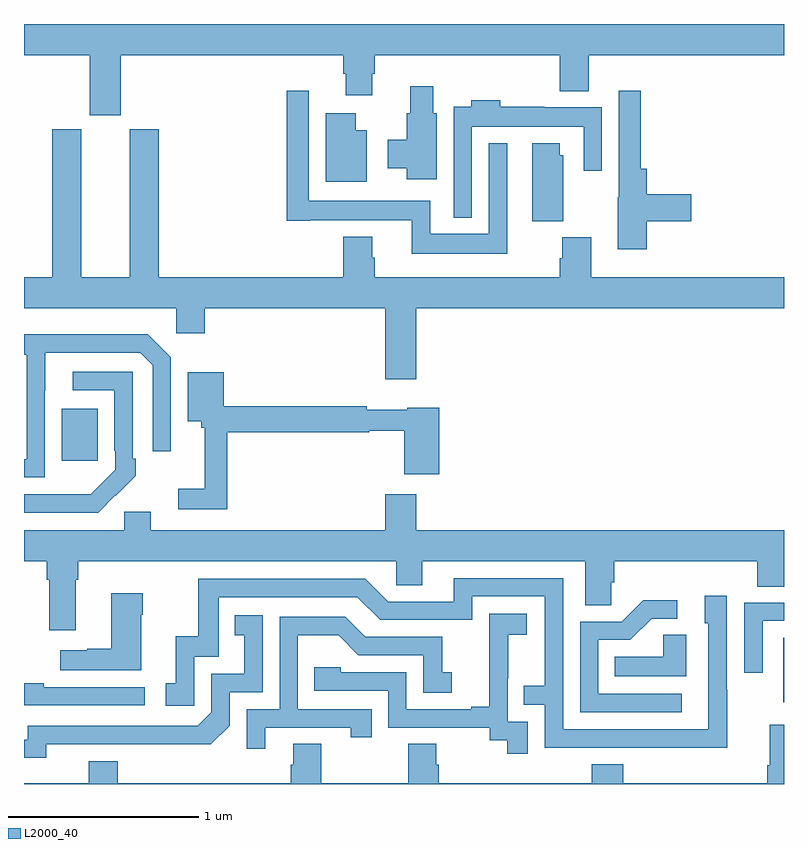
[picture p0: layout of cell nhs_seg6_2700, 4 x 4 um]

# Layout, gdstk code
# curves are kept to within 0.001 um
import gdstk
lib = gdstk.Library(unit=1e-6, precision=1e-09)
def R(c, l, rs):  # rectangles x0, y0, x1, y1
    for r in rs: c.add(gdstk.rectangle(r[:2], r[2:], *l))
def P(c, l, *ps):  # polygons
    for p in ps: c.add(gdstk.Polygon(p, *l))
L2000_40 = (2000, 40)

nhs_seg6_2700 = lib.new_cell('nhs_seg6_2700')
R(nhs_seg6_2700, L2000_40, [(274.997,943.929,275,944.269), (271.199,945.201,271.387,945.475)])
P(nhs_seg6_2700, L2000_40, [(271.51,947.336),(272.681,947.336),(272.681,947.238),(272.693,947.238),(272.693,947.124),(272.833,947.124),(272.833,947.238),(272.846,947.238),(272.846,947.336),(273.821,947.336),(273.821,947.147),(273.973,947.147),(273.973,947.336),(275,947.336),(275,947.5),(271,947.5),(271,947.336),(271.346,947.336),(271.346,947.019),(271.51,947.019)],
  [(273.172,947.031),(273.154,947.031),(273.154,947.173),(273.032,947.173),(273.032,947.031),(273.014,947.031),(273.014,946.89),(272.915,946.89),(272.915,946.742),(273.014,946.742),(273.014,946.683),(273.172,946.683)],
  [(273.544,946.873),(273.447,946.873),(273.447,946.396),(273.138,946.396),(273.138,946.57),(272.499,946.57),(272.499,947.149),(272.383,947.149),(272.383,946.464),(272.506,946.464),(272.506,946.466),(273.041,946.466),(273.041,946.292),(273.544,946.292)],
  [(274.277,946.462),(274.513,946.462),(274.513,946.604),(274.277,946.604),(274.277,946.738),(274.247,946.738),(274.247,947.149),(274.131,947.149),(274.131,946.587),(274.124,946.587),(274.124,946.314),(274.277,946.314)],
  [(273.357,946.958),(273.945,946.958),(273.945,946.728),(274.041,946.728),(274.041,947.062),(273.737,947.062),(273.737,947.065),(273.506,947.065),(273.506,947.098),(273.353,947.098),(273.353,947.065),(273.261,947.065),(273.261,946.481),(273.357,946.481)],
  [(272.803,946.942),(272.746,946.942),(272.746,947.029),(272.588,947.029),(272.588,946.67),(272.803,946.67)],
  [(273.064,946.004),(275,946.004),(275,946.168),(273.986,946.168),(273.986,946.377),(273.833,946.377),(273.833,946.268),(273.821,946.268),(273.821,946.168),(272.846,946.168),(272.846,946.269),(272.833,946.269),(272.833,946.381),(272.681,946.381),(272.681,946.168),(271.709,946.168),(271.709,946.947),(271.556,946.947),(271.556,946.168),(271.3,946.168),(271.3,946.947),(271.148,946.947),(271.148,946.168),(271,946.168),(271,946.004),(271.8,946.004),(271.8,945.873),(271.952,945.873),(271.952,946.004),(272.9,946.004),(272.9,945.63),(273.064,945.63)],
  [(273.838,946.809),(273.82,946.809),(273.82,946.873),(273.674,946.873),(273.674,946.462),(273.838,946.462)],
  [(271.11,945.571),(271.111,945.771),(271.611,945.771),(271.677,945.705),(271.677,945.252),(271.773,945.252),(271.773,945.747),(271.652,945.868),(271,945.868),(271,945.758),(271.014,945.758),(271.014,945.21),(271,945.21),(271,945.114),(271.11,945.114)],
  [(271.481,945.019),(271.482,945.018),(271.587,945.123),(271.587,945.211),(271.572,945.211),(271.572,945.669),(271.257,945.669),(271.257,945.573),(271.476,945.573),(271.476,945.253),(271.479,945.253),(271.479,945.153),(271.351,945.025),(271,945.024),(271,944.928),(271.39,944.928)],
  [(272.069,945.352),(272.818,945.352),(272.818,945.36),(273.002,945.36),(273.002,945.129),(273.185,945.129),(273.185,945.481),(273.018,945.481),(273.018,945.469),(272.804,945.469),(272.804,945.488),(272.05,945.488),(272.05,945.667),(271.862,945.667),(271.862,945.41),(271.934,945.41),(271.934,945.375),(271.952,945.375),(271.952,945.055),(271.812,945.055),(271.812,944.946),(272.069,944.946)],
  [(271.273,944.576),(271.286,944.576),(271.286,944.672),(272.958,944.672),(272.958,944.545),(273.097,944.545),(273.097,944.672),(273.953,944.672),(273.953,944.44),(274.092,944.44),(274.092,944.563),(274.106,944.563),(274.106,944.672),(274.859,944.672),(274.859,944.539),(275,944.539),(275,944.836),(273.064,944.836),(273.064,945.025),(272.9,945.025),(272.9,944.836),(271.666,944.836),(271.666,944.934),(271.527,944.934),(271.527,944.836),(271,944.836),(271,944.672),(271.121,944.672),(271.121,944.576),(271.133,944.576),(271.133,944.31),(271.273,944.31)],
  [(274.701,943.997),(274.698,943.997),(274.698,944.491),(274.583,944.491),(274.583,944.346),(274.602,944.346),(274.602,943.788),(273.837,943.788),(273.837,944.583),(273.263,944.583),(273.263,944.46),(272.916,944.46),(272.796,944.58),(271.917,944.58),(271.917,944.278),(271.799,944.278),(271.799,944.031),(271.746,944.031),(271.746,943.911),(271.896,943.911),(271.896,944.169),(272.025,944.169),(272.025,944.484),(272.754,944.484),(272.874,944.364),(273.36,944.364),(273.36,944.487),(273.741,944.487),(273.741,944.018),(273.631,944.018),(273.631,943.917),(273.741,943.917),(273.741,943.692),(274.701,943.691)],
  [(271.618,944.39),(271.626,944.39),(271.626,944.503),(271.46,944.503),(271.46,944.213),(271.334,944.213),(271.334,944.203),(271.191,944.203),(271.191,944.099),(271.618,944.099)],
  [(274.462,943.974),(274.023,943.974),(274.023,944.259),(274.192,944.259),(274.303,944.37),(274.438,944.37),(274.438,944.468),(274.259,944.468),(274.146,944.355),(273.927,944.355),(273.927,943.878),(274.462,943.878)],
  [(274.887,944.358),(275,944.358),(275,944.454),(274.791,944.454),(274.791,944.085),(274.887,944.085)],
  [(273.651,943.827),(273.546,943.827),(273.546,944.057),(273.548,944.057),(273.548,944.285),(273.646,944.285),(273.646,944.395),(273.448,944.395),(273.448,944.189),(273.449,944.189),(273.449,943.906),(273.353,943.906),(273.353,943.893),(273.012,943.893),(273.012,944.088),(272.667,944.088),(272.667,944.115),(272.527,944.115),(272.527,943.992),(272.916,943.992),(272.916,943.797),(273.45,943.797),(273.45,943.729),(273.543,943.729),(273.543,943.659),(273.651,943.659)],
  [(271.116,943.71),(271.984,943.709),(272.082,943.806),(272.082,943.983),(272.256,943.983),(272.256,944.389),(272.11,944.389),(272.11,944.283),(272.159,944.283),(272.159,944.079),(271.986,944.079),(271.986,943.878),(271.914,943.806),(271.02,943.806),(271.02,943.734),(271,943.734),(271,943.637),(271.116,943.637)],
  [(272.269,943.797),(272.72,943.797),(272.72,943.746),(272.831,943.746),(272.831,943.893),(272.442,943.893),(272.442,944.282),(272.656,944.282),(272.76,944.178),(273.102,944.178),(273.102,943.98),(273.25,943.98),(273.25,944.089),(273.201,944.089),(273.201,944.274),(272.797,944.274),(272.692,944.379),(272.346,944.379),(272.346,943.893),(272.172,943.893),(272.172,943.686),(272.269,943.686)],
  [(274.486,944.285),(274.365,944.285),(274.365,944.17),(274.108,944.17),(274.108,944.066),(274.486,944.066)],
  [(271.636,944.01),(271.103,944.01),(271.103,944.03),(271,944.03),(271,943.914),(271.636,943.914)],
  [(275,943.813),(274.925,943.813),(274.925,943.6),(274.913,943.6),(274.913,943.504),(274.154,943.504),(274.154,943.603),(273.989,943.603),(273.989,943.504),(273.182,943.504),(273.182,943.602),(273.169,943.602),(273.169,943.712),(273.022,943.712),(273.022,943.504),(272.565,943.504),(272.565,943.712),(272.417,943.712),(272.417,943.602),(272.405,943.602),(272.405,943.504),(271.493,943.504),(271.493,943.621),(271.34,943.621),(271.34,943.504),(271,943.504),(271,943.5),(275,943.5)])

lib.write_gds('nhs_seg6_2700.gds')
